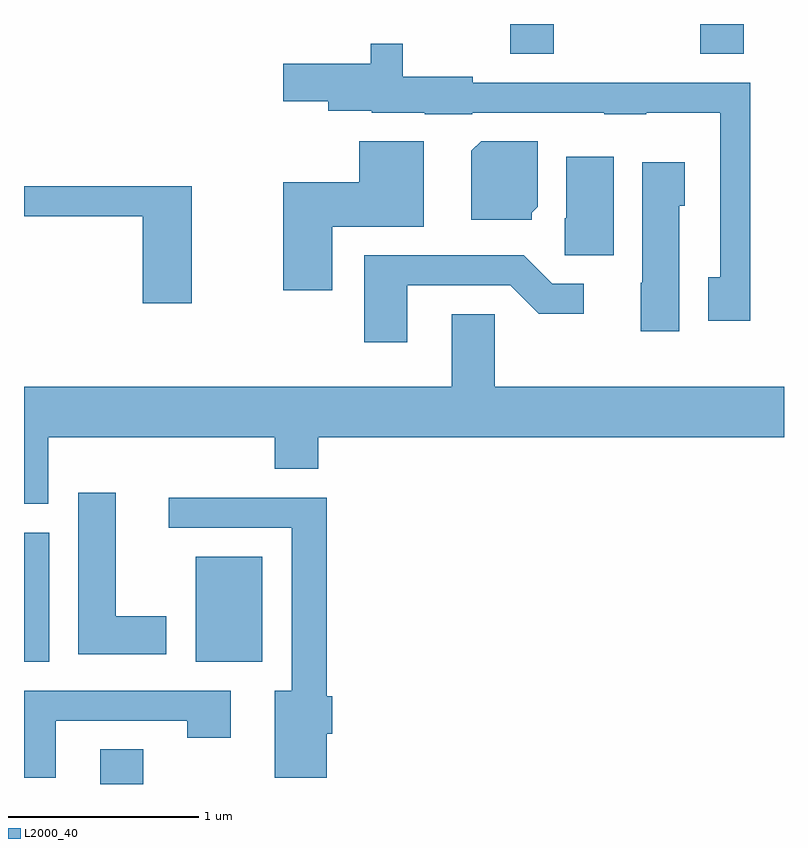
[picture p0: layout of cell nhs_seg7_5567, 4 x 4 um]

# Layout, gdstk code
import gdstk
lib = gdstk.Library(unit=1e-6, precision=1e-09)
def R(c, l, rs):  # rectangles x0, y0, x1, y1
    for r in rs: c.add(gdstk.rectangle(r[:2], r[2:], *l))
def P(c, l, *ps):  # polygons
    for p in ps: c.add(gdstk.Polygon(p, *l))
L2000_40 = (2000, 40)

nhs_seg7_5567 = lib.new_cell('nhs_seg7_5567')
R(nhs_seg7_5567, L2000_40, [(356.011,1730.252,356.239,1730.434), (355.611,1730.896,355.744,1731.574), (356.516,1730.896,356.864,1731.449), (358.171,1734.096,358.399,1734.252), (359.171,1734.096,359.399,1734.252)])
P(nhs_seg7_5567, L2000_40, [(359.434,1733.944),(357.974,1733.944),(357.974,1733.974),(357.604,1733.974),(357.604,1734.148),(357.436,1734.148),(357.436,1734.044),(356.976,1734.044),(356.976,1733.846),(357.211,1733.846),(357.211,1733.796),(357.44,1733.796),(357.44,1733.786),(357.72,1733.786),(357.72,1733.776),(357.97,1733.776),(357.97,1733.786),(358.665,1733.786),(358.665,1733.776),(358.885,1733.776),(358.885,1733.786),(359.276,1733.786),(359.276,1732.919),(359.211,1732.919),(359.211,1732.691),(359.434,1732.691)],
  [(357.234,1733.186),(357.714,1733.186),(357.714,1733.634),(357.376,1733.634),(357.376,1733.419),(356.976,1733.419),(356.976,1732.851),(357.234,1732.851)],
  [(358.284,1733.259),(358.314,1733.289),(358.314,1733.634),(358.017,1733.634),(357.966,1733.584),(357.966,1733.221),(358.284,1733.221)],
  [(358.714,1733.554),(358.466,1733.554),(358.466,1733.23),(358.456,1733.23),(358.456,1733.036),(358.714,1733.036)],
  [(359.059,1733.296),(359.089,1733.296),(359.089,1733.524),(358.866,1733.524),(358.866,1732.89),(358.856,1732.89),(358.856,1732.636),(359.059,1732.636)],
  [(356.494,1733.399),(355.611,1733.399),(355.611,1733.241),(356.236,1733.241),(356.236,1732.781),(356.494,1732.781)],
  [(357.629,1732.876),(358.169,1732.876),(358.319,1732.726),(358.558,1732.726),(358.558,1732.884),(358.392,1732.884),(358.242,1733.034),(357.401,1733.034),(357.401,1732.576),(357.629,1732.576)],
  [(355.739,1732.076),(356.931,1732.076),(356.931,1731.911),(357.159,1731.911),(357.159,1732.076),(359.611,1732.076),(359.611,1732.344),(358.089,1732.344),(358.089,1732.724),(357.861,1732.724),(357.861,1732.344),(355.611,1732.344),(355.611,1731.726),(355.739,1731.726)],
  [(356.359,1731.134),(356.094,1731.134),(356.094,1731.784),(355.896,1731.784),(355.896,1730.936),(356.359,1730.936)],
  [(357.204,1730.516),(357.234,1730.516),(357.234,1730.714),(357.204,1730.714),(357.204,1731.759),(356.373,1731.759),(356.373,1731.601),(357.021,1731.601),(357.021,1730.744),(356.931,1730.744),(356.931,1730.286),(357.204,1730.286)],
  [(355.779,1730.586),(356.471,1730.586),(356.471,1730.496),(356.699,1730.496),(356.699,1730.744),(355.611,1730.744),(355.611,1730.286),(355.779,1730.286)])

lib.write_gds('nhs_seg7_5567.gds')
